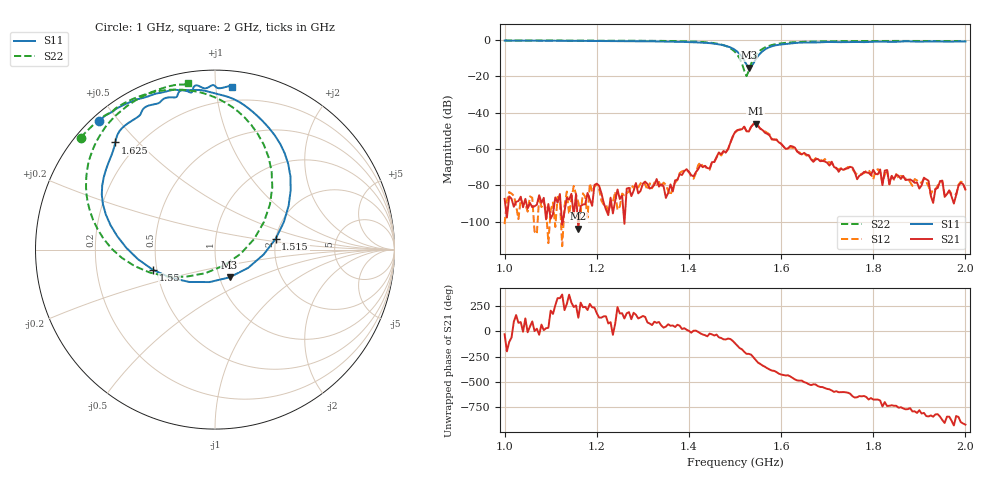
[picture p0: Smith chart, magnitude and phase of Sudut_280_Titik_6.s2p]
# Hz S RI R 50
! CMT, C1220, 16058040, 17.2.0/1
! Date: 14/08/2018 12:24:30
! Data: Format (Calibration Info)
! Freq  S11: Re/Im (F2)  S21: Re/Im (F2)  S12: Re/Im (F2)  S22: Re/Im (F2)
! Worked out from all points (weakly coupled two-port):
!   201 points, 1 GHz to 2 GHz, reference 50 ohm
!   highest |S21| = -45.93 dB at 1.545 GHz (marker M1); lowest = -103.8 dB at 1.16 GHz (marker M2)
!   lowest |S11| = -15.2 dB at 1.53 GHz (marker M3), VSWR 1.42, Z = 55.9 - j17.8 ohm
!   |S11| at or under -10 dB: 1.517 GHz to 1.547 GHz (29.9 MHz wide, 1.95 % of centre)
!   |S22| runs from -19.8 to -0.2 dB; largest |S21 - S12| = 0.00025
!   S11 on the Smith chart (normalised r, x): 1 GHz: 0.02, +0.44; 1.515 GHz: 2.00, +0.27; 1.55 GHz: 0.48, -0.12; 1.625 GHz: 0.12, +0.43; 2 GHz: 0.10, +1.11
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1e9  -0.6462 0.7151  3.77e-05 -2.04e-05  6.24e-06 5.99e-06  -0.7475 0.6242
1.16e9  -0.4835 0.8172  -4.59e-06 4.52e-06  3.83e-06 -3.42e-05  -0.6216 0.7418
1.17e9  -0.4707 0.8228  -1.52e-05 -2.59e-05  5.34e-05 -2.88e-05  -0.6111 0.7487
1.335e9  -0.2072 0.8889  -5.28e-06 9.31e-05  6.27e-05 0.000109  -0.3961 0.8624
1.41e9  0.012 0.8675  0.000176 1.95e-05  0.000146 4.55e-05  -0.1824 0.8906
1.425e9  0.0791 0.8485  0.000344 -0.000124  0.0004 -0.000162  -0.1142 0.8823
1.445e9  0.1607 0.8062  0.000272 -0.000109  0.000222 -0.000154  -0.0051 0.8502
1.5e9  0.4216 0.3302  -0.00137 -0.00259  -0.0013 -0.00252  0.3192 0.3471
1.515e9  0.3382 0.0606  -0.00351 -0.00012  -0.00358 -0.000198  0.2191 0.0602
1.53e9  0.0815 -0.1545  -0.00221 0.00208  -0.00226 0.00212  -0.0537 -0.1315
1.545e9  -0.2494 -0.1561  0.00113 0.00493  0.00106 0.00486  -0.3648 -0.1273
1.55e9  -0.3463 -0.1123  0.00284 0.00334  0.00268 0.00342  -0.4482 -0.0915
1.625e9  -0.5553 0.5971  -0.000256 -0.00116  -0.000232 -0.00106  -0.6944 0.52
1.67e9  -0.4311 0.7382  -0.000432 -0.000113  -0.000471 -0.000122  -0.6187 0.6708
1.755e9  -0.2752 0.8449  7.58e-05 0.000301  3.66e-05 0.000275  -0.4827 0.8049
1.765e9  -0.2494 0.8484  5.97e-05 0.000136  5.72e-05 0.000197  -0.4689 0.8146
1.815e9  -0.1797 0.8885  0.000229 0.000154  0.000199 0.000128  -0.3969 0.8567
1.82e9  -0.1687 0.887  9.23e-05 -4.41e-05  0.000117 4.31e-06  -0.39 0.8599
1.83e9  -0.1462 0.8789  0.000249 -9.32e-05  0.000278 3.06e-06  -0.377 0.8664
1.835e9  -0.1375 0.8754  0.000104 -3.44e-05  9.48e-05 -4.78e-05  -0.3704 0.8696
1.85e9  -0.1259 0.885  0.000185 -6.28e-05  0.000207 -8.01e-06  -0.3502 0.8784
2e9  0.0967 0.9068  -7.01e-05 3.29e-05  -7.41e-05 2.38e-05  -0.1486 0.9279
